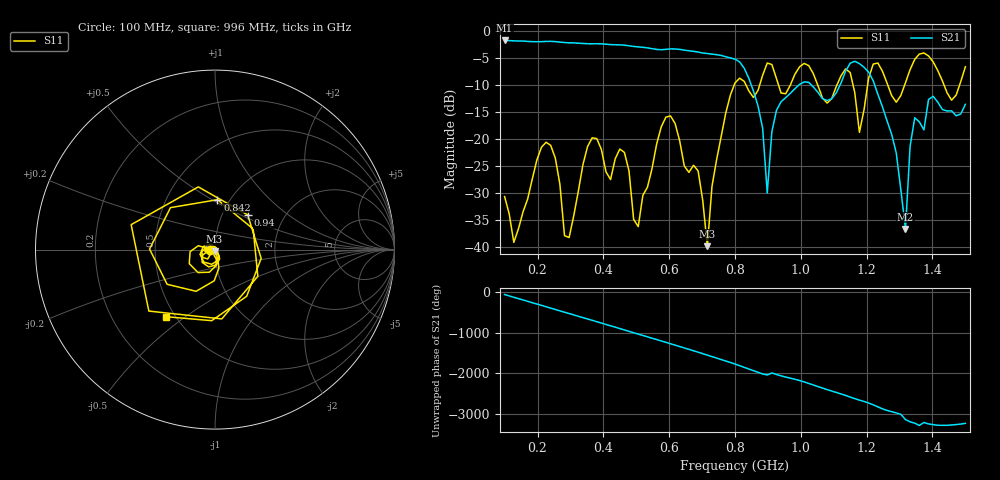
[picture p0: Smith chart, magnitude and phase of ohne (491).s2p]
! NanoVNA-App
! Date: 2025-09-25 14:24:37
! Start: 100MHz Stop: 1,5GHz Points: 101
! S-Parameter data: F S11 S21 S12 S22
# Hz S RI R 50
!  Frequency  S11_Real  S11_Imag  S21_Real  S21_Imag  S12_Real  S12_Imag  S22_Real  S22_Imag
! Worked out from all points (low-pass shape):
!   101 points, 100 MHz to 1.5 GHz, reference 50 ohm
!   highest |S21| = -1.79 dB at 100 MHz (marker M1); lowest = -36.6 dB at 1.318 GHz (marker M2)
!   |S21| within 3 dB of the highest: start of sweep to 771.5 MHz
!   lowest |S11| = -39.8 dB at 716 MHz (marker M3), VSWR 1.02, Z = 49.8 - j0.998 ohm
!   |S11| at or under -10 dB: start of sweep to 797.8 MHz; 833.2 MHz to 875.1 MHz (41.91 MHz wide, 4.91 % of centre); 1.051 GHz to 1.11 GHz (58.6 MHz wide, 5.42 % of centre) (the widest 3 of 7)
!   S12 and S22 are empty: the file has one direction only
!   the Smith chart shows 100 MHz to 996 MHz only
!   S11 on the Smith chart (normalised r, x): 100 MHz: 0.94, -0.01; 842 MHz: 0.88, +0.53; 940 MHz: 1.32, +0.55; 996 MHz: 0.45, -0.42
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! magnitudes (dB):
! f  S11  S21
! 100 MHz  -30.6  -1.8
! 128 MHz  -39.1  -1.9
! 226 MHz  -20.6  -2.0
! 296 MHz  -38.2  -2.2
! 338 MHz  -24.7  -2.3
! 464 MHz  -22.5  -2.7
! 506 MHz  -36.2  -3.0
! 576 MHz  -17.7  -3.5
! 688 MHz  -25.9  -3.9
! 716 MHz  -39.8  -4.2
! 800 MHz  -9.6  -5.2
! 842 MHz  -11.1  -8.8
! 898 MHz  -6.0  -30.0
! 940 MHz  -11.5  -13.1
! 996 MHz  -6.7  -9.9
! 1.038 GHz  -7.9  -10.4
! 1.178 GHz  -18.8  -6.1
! 1.22 GHz  -6.2  -9.2
! 1.276 GHz  -12.0  -19.1
! 1.318 GHz  -9.6  -36.6
! 1.346 GHz  -5.3  -16.1
! 1.5 GHz  -6.7  -13.6
